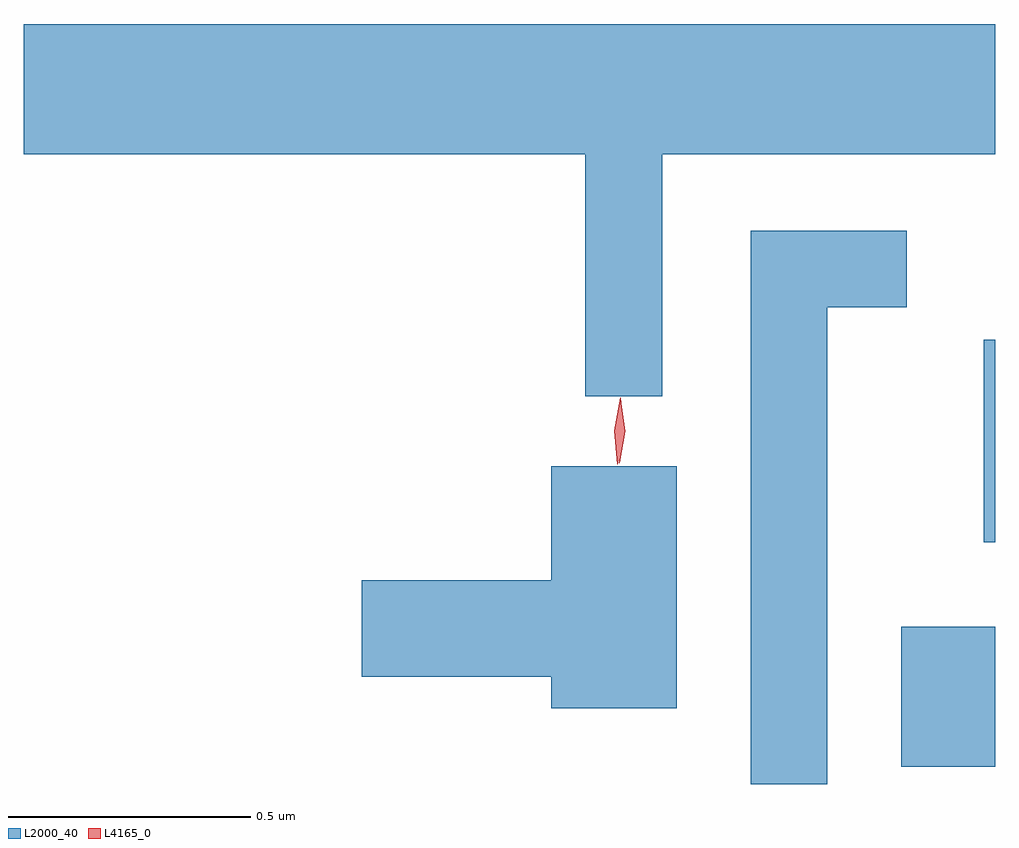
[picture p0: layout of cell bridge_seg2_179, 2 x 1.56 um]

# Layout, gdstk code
import gdstk
lib = gdstk.Library(unit=1e-6, precision=1e-09)
def R(c, l, rs):  # rectangles x0, y0, x1, y1
    for r in rs: c.add(gdstk.rectangle(r[:2], r[2:], *l))
def P(c, l, *ps):  # polygons
    for p in ps: c.add(gdstk.Polygon(p, *l))
L2000_40 = (2000, 40)
L4165_0 = (4165, 0)

bridge_seg2_179 = lib.new_cell('bridge_seg2_179')
R(bridge_seg2_179, L2000_40, [(701.816,980.456,702.01,980.744), (701.986,980.918,702.01,981.334)])
P(bridge_seg2_179, L2000_40, [(701.324,981.716),(702.01,981.716),(702.01,981.984),(700.01,981.984),(700.01,981.716),(701.166,981.716),(701.166,981.218),(701.324,981.218)],
  [(701.664,981.401),(701.828,981.401),(701.828,981.559),(701.506,981.559),(701.506,980.42),(701.664,980.42)],
  [(701.354,981.074),(701.096,981.074),(701.096,980.839),(700.706,980.839),(700.706,980.641),(701.096,980.641),(701.096,980.576),(701.354,980.576)])
P(bridge_seg2_179, L4165_0, [(701.236,981.08),(701.236,981.081),(701.228,981.146),(701.238,981.211),(701.239,981.212),(701.239,981.211),(701.248,981.146),(701.237,981.081)],
  [(701.232,981.078),(701.232,981.078),(701.226,981.147),(701.238,981.215),(701.239,981.215),(701.239,981.215),(701.245,981.146),(701.233,981.078)])

lib.write_gds('bridge_seg2_179.gds')
